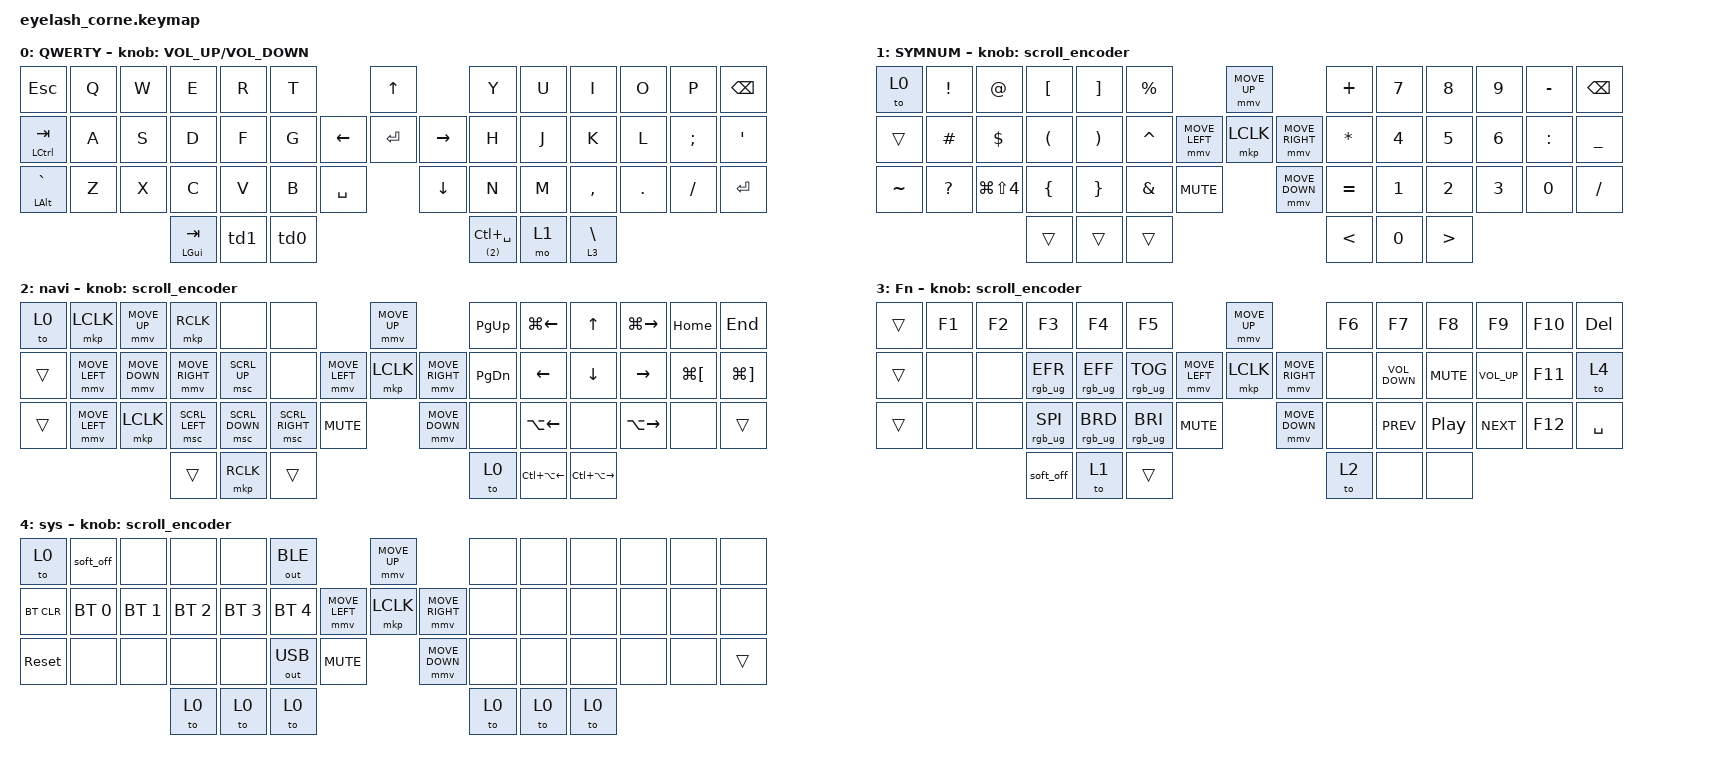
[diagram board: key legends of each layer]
#define ZMK_POINTING_DEFAULT_MOVE_VAL 1200  // 600
#define ZMK_POINTING_DEFAULT_SCRL_VAL 25   // 10

#include <input/processors.dtsi>
#include <zephyr/dt-bindings/input/input-event-codes.h>
#include <behaviors.dtsi>
#include <dt-bindings/zmk/bt.h>
#include <dt-bindings/zmk/keys.h>
#include <dt-bindings/zmk/outputs.h>
#include <dt-bindings/zmk/pointing.h>
#include <dt-bindings/zmk/rgb.h>

&mmv_input_listener { input-processors = <&zip_xy_scaler 2 1>; };

&msc_input_listener { input-processors = <&zip_scroll_scaler 2 1>; };

&msc {
    acceleration-exponent = <1>;      // 0
    time-to-max-speed-ms = <100>;       // 300
    delay-ms = <0>;                   // 0
};

&mmv {
    time-to-max-speed-ms = <500>;
    acceleration-exponent = <1>;
    trigger-period-ms = <16>;
};

&soft_off { hold-time-ms = <2000>; };

&lt {
    tapping-term-ms = <175>;
    flavor = "balanced";
};

/ {
    behaviors {
        td0: td0 {
            compatible = "zmk,behavior-tap-dance";
            display-name = "Shift/Caps Lock Tap Dance";
            #binding-cells = <0>;
            bindings = <&kp LEFT_SHIFT>, <&caps_word>;

            label = "shift capsword";
        };

        hold_to: hold_to {
            compatible = "zmk,behavior-hold-tap";
            label = "HOLD_TO";
            bindings = <&kp>, <&to>;

            #binding-cells = <2>;
            tapping-term-ms = <200>;
        };

        hold_tap: hold_tap {
            compatible = "zmk,behavior-hold-tap";
            label = "HOLD_TAP";
            bindings = <&kp>, <&kp>;

            #binding-cells = <2>;
            tapping-term-ms = <200>;
            flavor = "tap-preferred";
        };

        td1: td1 {
            compatible = "zmk,behavior-tap-dance";
            label = "td space l1 mission ctrl";
            #binding-cells = <0>;
            bindings = <&kp SPACE>, <&lt 1 LC(UP_ARROW)>;

            tapping-term-ms = <150>;
        };

        td2_caps_l2: td2_caps_l2 {
            compatible = "zmk,behavior-tap-dance";
            label = "TD2_CAPS_L2";
            #binding-cells = <0>;
            bindings = <&kp CAPS>, <&mo 2>;

            tapping-term-ms = <250>;
        };
    };

    rgb_encoder: rgb_encoder {
        compatible = "zmk,behavior-sensor-rotate";
        #sensor-binding-cells = <0>;
        bindings = <&rgb_ug RGB_BRI>, <&rgb_ug RGB_BRD>;
    };

    scroll_encoder: scroll_encoder {
        compatible = "zmk,behavior-sensor-rotate";
        #sensor-binding-cells = <0>;
        bindings = <&msc SCRL_DOWN>, <&msc SCRL_UP>;

        tap-ms = <100>;
    };

    combos {
        compatible = "zmk,combos";

        softoff {
            bindings = <&soft_off>;
            key-positions = <1 15 29>;
        };

        screenshot {
            bindings = <&kp LS(LG(NUMBER_4))>;
            key-positions = <14 15>;
        };
    };

    keymap {
        compatible = "zmk,keymap";

        default_layer0 {
            display-name = "QWERTY";
            bindings = <
&kp ESCAPE      &kp Q  &kp W  &kp E         &kp R  &kp T                         &kp UP                &kp Y              &kp U  &kp I            &kp O    &kp P     &kp BSPC
&mt LCTRL TAB   &kp A  &kp S  &kp D         &kp F  &kp G               &kp LEFT  &kp ENTER  &kp RIGHT  &kp H              &kp J  &kp K            &kp L    &kp SEMI  &kp SQT
&mt LALT GRAVE  &kp Z  &kp X  &kp C         &kp V  &kp B  &kp SPACE              &kp DOWN              &kp N              &kp M  &kp COMMA        &kp DOT  &kp FSLH  &kp ENTER
                              &mt LGUI TAB  &td1   &td0                                                &lt (2) LC(SPACE)  &mo 1  &lt 3 BACKSLASH
            >;

            sensor-bindings = <&inc_dec_kp C_VOLUME_UP C_VOLUME_DOWN>;
        };

        symnum_layer1 {
            display-name = "SYMNUM";
            bindings = <
&to 0      &kp EXCL      &kp AT                &kp LEFT_BRACKET      &kp RIGHT_BRACKET      &kp PERCENT                                &mmv MOVE_UP                     &kp PLUS   &kp N7  &kp N8  &kp N9  &kp MINUS  &kp BACKSPACE
&trans     &kp HASH      &kp DOLLAR            &kp LEFT_PARENTHESIS  &kp RIGHT_PARENTHESIS  &kp CARET                  &mmv MOVE_LEFT  &mkp LCLK       &mmv MOVE_RIGHT  &kp ASTRK  &kp N4  &kp N5  &kp N6  &kp COLON  &kp UNDERSCORE
&kp TILDE  &kp QUESTION  &kp LG(LS(NUMBER_4))  &kp LEFT_BRACE        &kp RIGHT_BRACE        &kp AMPS     &kp C_MUTE                    &mmv MOVE_DOWN                   &kp EQUAL  &kp N1  &kp N2  &kp N3  &kp N0     &kp SLASH
                                               &trans                &trans                 &trans                                                                      &kp LT     &kp N0  &kp GT
            >;

            sensor-bindings = <&scroll_encoder>;
        };

        navi_layer2 {
            display-name = "navi";
            bindings = <
&to 0   &mkp LCLK       &mmv MOVE_UP    &mkp RCLK        &none           &none                                          &mmv MOVE_UP                     &kp PAGE_UP    &kp LG(LEFT)      &kp UP_ARROW       &kp LG(RIGHT)  &kp HOME              &kp END
&trans  &mmv MOVE_LEFT  &mmv MOVE_DOWN  &mmv MOVE_RIGHT  &msc SCRL_UP    &none                          &mmv MOVE_LEFT  &mkp LCLK       &mmv MOVE_RIGHT  &kp PAGE_DOWN  &kp LEFT_ARROW    &kp DOWN_ARROW     &kp RIGHT      &kp LG(LEFT_BRACKET)  &kp LG(RIGHT_BRACKET)
&trans  &mmv MOVE_LEFT  &mkp LCLK       &msc SCRL_LEFT   &msc SCRL_DOWN  &msc SCRL_RIGHT  &kp C_MUTE                    &mmv MOVE_DOWN                   &none          &kp LA(LEFT)      &none              &kp LA(RIGHT)  &none                 &trans
                                        &trans           &mkp RCLK       &trans                                                                          &to 0          &kp LC(LA(LEFT))  &kp LC(LA(RIGHT))
            >;

            sensor-bindings = <&scroll_encoder>;
        };

        fn_layer3 {
            display-name = "Fn";
            bindings = <
&trans  &kp F1  &kp F2  &kp F3           &kp F4           &kp F5                                         &mmv MOVE_UP                     &kp F6  &kp F7             &kp F8            &kp F9           &kp F10  &kp DELETE
&trans  &none   &none   &rgb_ug RGB_EFR  &rgb_ug RGB_EFF  &rgb_ug RGB_TOG                &mmv MOVE_LEFT  &mkp LCLK       &mmv MOVE_RIGHT  &none   &kp C_VOLUME_DOWN  &kp C_MUTE        &kp C_VOLUME_UP  &kp F11  &to 4
&trans  &none   &none   &rgb_ug RGB_SPI  &rgb_ug RGB_BRD  &rgb_ug RGB_BRI  &kp C_MUTE                    &mmv MOVE_DOWN                   &none   &kp C_PREV         &kp C_PLAY_PAUSE  &kp C_NEXT       &kp F12  &kp SPACE
                        &soft_off        &to 1            &trans                                                                          &to 2   &none              &none
            >;

            sensor-bindings = <&scroll_encoder>;
        };

        sys_layer_4 {
            display-name = "sys";
            bindings = <
&to 0       &soft_off     &none         &none         &none         &out OUT_BLE                                &mmv MOVE_UP                     &none  &none  &none  &none  &none  &none
&bt BT_CLR  &bt BT_SEL 0  &bt BT_SEL 1  &bt BT_SEL 2  &bt BT_SEL 3  &bt BT_SEL 4                &mmv MOVE_LEFT  &mkp LCLK       &mmv MOVE_RIGHT  &none  &none  &none  &none  &none  &none
&sys_reset  &none         &none         &none         &none         &out OUT_USB  &kp C_MUTE                    &mmv MOVE_DOWN                   &none  &none  &none  &none  &none  &trans
                                        &to 0         &to 0         &to 0                                                                        &to 0  &to 0  &to 0
            >;

            sensor-bindings = <&scroll_encoder>;
        };
    };
};
